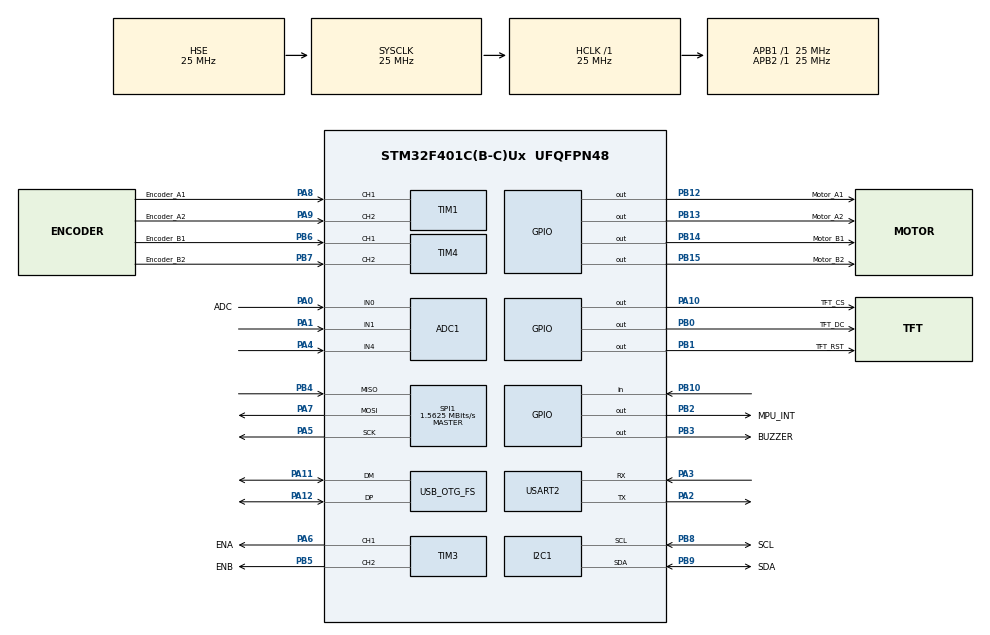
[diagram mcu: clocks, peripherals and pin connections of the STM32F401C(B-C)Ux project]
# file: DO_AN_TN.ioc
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ADC1.Channel-0\#ChannelRegularConversion=ADC_CHANNEL_0
ADC1.NbrOfConversionFlag=1
ADC1.Rank-0\#ChannelRegularConversion=1
ADC1.SamplingTime-0\#ChannelRegularConversion=ADC_SAMPLETIME_3CYCLES
ADC1.master=1
Mcu.Family=STM32F4
Mcu.Name=STM32F401C(B-C)Ux
Mcu.Package=UFQFPN48
NVIC.OTG_FS_IRQn=true\:0\:0\:false\:false\:true\:false\:true\:true
NVIC.PriorityGroup=NVIC_PRIORITYGROUP_4
NVIC.TIM4_IRQn=true\:0\:0\:false\:false\:true\:true\:true\:true
PA0-WKUP.GPIO_Label=ADC
PA0-WKUP.Signal=ADCx_IN0
PA1.Signal=ADCx_IN1
PA10.GPIO_Label=TFT_CS
PA10.Signal=GPIO_Output
PA11.Mode=Device_Only
PA11.Signal=USB_OTG_FS_DM
PA12.Mode=Device_Only
PA12.Signal=USB_OTG_FS_DP
PA13.Mode=Serial_Wire
PA13.Signal=SYS_JTMS-SWDIO
PA14.Mode=Serial_Wire
PA14.Signal=SYS_JTCK-SWCLK
PA2.Mode=Asynchronous
PA2.Signal=USART2_TX
PA3.Mode=Asynchronous
PA3.Signal=USART2_RX
PA4.Signal=ADCx_IN4
PA5.GPIO_PuPd=GPIO_PULLUP
PA5.Mode=Full_Duplex_Master
PA5.Signal=SPI1_SCK
PA6.GPIO_Label=ENA
PA6.Signal=S_TIM3_CH1
PA7.GPIO_PuPd=GPIO_PULLUP
PA7.Mode=Full_Duplex_Master
PA7.Signal=SPI1_MOSI
PA8.GPIO_Label=Encoder_A1
PA8.Signal=S_TIM1_CH1
PA9.GPIO_Label=Encoder_A2
PA9.Signal=S_TIM1_CH2
PB0.GPIO_Label=TFT_DC
PB0.Signal=GPIO_Output
PB1.GPIO_Label=TFT_RST
PB1.Signal=GPIO_Output
PB10.GPIO_PuPd=GPIO_NOPULL
PB10.Signal=GPIO_Input
PB12.GPIO_Label=Motor_A1
PB12.Signal=GPIO_Output
PB13.GPIO_Label=Motor_A2
PB13.Signal=GPIO_Output
PB14.GPIO_Label=Motor_B1
PB14.Signal=GPIO_Output
PB15.GPIO_Label=Motor_B2
PB15.Signal=GPIO_Output
PB2.GPIO_Label=MPU_INT
PB2.Signal=GPIO_Output
PB3.GPIO_Label=BUZZER
PB3.Signal=GPIO_Output
PB4.Mode=Full_Duplex_Master
PB4.Signal=SPI1_MISO
PB5.GPIO_Label=ENB
PB5.Signal=S_TIM3_CH2
PB6.GPIO_Label=Encoder_B1
PB6.GPIO_PuPd=GPIO_NOPULL
PB6.Signal=S_TIM4_CH1
PB7.GPIO_Label=Encoder_B2
PB7.GPIO_PuPd=GPIO_NOPULL
PB7.Signal=S_TIM4_CH2
PB8.GPIO_Label=SCL
PB8.GPIO_Pu=GPIO_PULLUP
PB8.Mode=I2C
PB8.Signal=I2C1_SCL
PB9.GPIO_Label=SDA
PB9.GPIO_Pu=GPIO_PULLUP
PB9.Mode=I2C
PB9.Signal=I2C1_SDA
PH0\ -\ OSC_IN.Mode=HSE-External-Oscillator
PH0\ -\ OSC_IN.Signal=RCC_OSC_IN
PH1\ -\ OSC_OUT.Mode=HSE-External-Oscillator
PH1\ -\ OSC_OUT.Signal=RCC_OSC_OUT
ProjectManager.HeapSize=0x200
ProjectManager.StackSize=0x400
ProjectManager.TargetToolchain=STM32CubeIDE
RCC.48MHZClocksFreq_Value=48000000
RCC.AHBFreq_Value=25000000
RCC.APB1Freq_Value=25000000
RCC.APB1TimFreq_Value=25000000
RCC.APB2Freq_Value=25000000
RCC.APB2TimFreq_Value=25000000
RCC.CortexFreq_Value=25000000
RCC.HCLKFreq_Value=25000000
RCC.HSE_VALUE=25000000
RCC.HSI_VALUE=16000000
RCC.LSE_VALUE=32768
RCC.PLLM=25
RCC.PLLN=336
RCC.PLLQ=7
RCC.SYSCLKFreq_VALUE=25000000
RCC.SYSCLKSource=RCC_SYSCLKSOURCE_HSE
RCC.VCOOutputFreq_Value=336000000
SH.ADCx_IN0.0=ADC1_IN0,IN0
SH.ADCx_IN1.0=ADC1_IN1,IN1
SH.ADCx_IN4.0=ADC1_IN4,IN4
SH.S_TIM1_CH1.0=TIM1_CH1,Encoder_Interface
SH.S_TIM1_CH2.0=TIM1_CH2,Encoder_Interface
SH.S_TIM3_CH1.0=TIM3_CH1,PWM Generation1 CH1
SH.S_TIM3_CH2.0=TIM3_CH2,PWM Generation2 CH2
SH.S_TIM4_CH1.0=TIM4_CH1,Encoder_Interface
SH.S_TIM4_CH2.0=TIM4_CH2,Encoder_Interface
SPI1.BaudRatePrescaler=SPI_BAUDRATEPRESCALER_16
SPI1.CLKPhase=SPI_PHASE_2EDGE
SPI1.CLKPolarity=SPI_POLARITY_HIGH
SPI1.CalculateBaudRate=1.5625 MBits/s
SPI1.Direction=SPI_DIRECTION_2LINES
SPI1.Mode=SPI_MODE_MASTER
SPI1.VirtualType=VM_MASTER
TIM3.Channel-PWM\ Generation1\ CH1=TIM_CHANNEL_1
TIM3.Channel-PWM\ Generation2\ CH2=TIM_CHANNEL_2
TIM4.IC1Filter=15
TIM4.IC2Filter=0
USART2.VirtualMode=VM_ASYNC
USB_DEVICE.CLASS_NAME_FS=CDC
USB_DEVICE.VirtualMode=Cdc
USB_DEVICE.VirtualModeFS=Cdc_FS
USB_OTG_FS.VirtualMode=Device_Only
VP_USB_DEVICE_VS_USB_DEVICE_CDC_FS.Mode=CDC_FS
board=custom

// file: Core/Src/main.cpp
/* USER CODE BEGIN Header */
/**
  ******************************************************************************
  * @file           : main.c
  * @brief          : Main program body
  ******************************************************************************
  * @attention
  *
  * Copyright (c) 2026 STMicroelectronics.
  * All rights reserved.
  *
  * This software is licensed under terms that can be found in the LICENSE file
  * in the root directory of this software component.
  * If no LICENSE file comes with this software, it is provided AS-IS.
  *
  ******************************************************************************
  */
/* USER CODE END Header */
#include "main.h"
#include "usb_device.h"

/* USER CODE BEGIN Includes */
#define PCA9685_MODE1 0x00
#define PCA9685_PRESCALE 0xFE
/* USER CODE END Includes */

ADC_HandleTypeDef hadc1;

I2C_HandleTypeDef hi2c1;

SPI_HandleTypeDef hspi1;

TIM_HandleTypeDef htim1;
TIM_HandleTypeDef htim3;
TIM_HandleTypeDef htim4;

UART_HandleTypeDef huart2;

/* USER CODE BEGIN PV */
uint8_t pca_addr = 0xAA;
HAL_StatusTypeDef test_status;
uint32_t encoder1_count = 0 ;
uint32_t encoder2_count = 0 ;
uint8_t btn_rst = 1;
uint8_t btn_conf = 1;
/* USER CODE END PV */

void SystemClock_Config(void);
static void MX_GPIO_Init(void);
static void MX_ADC1_Init(void);
static void MX_I2C1_Init(void);
static void MX_SPI1_Init(void);
static void MX_TIM1_Init(void);
static void MX_TIM3_Init(void);
static void MX_TIM4_Init(void);
static void MX_USART2_UART_Init(void);
/* USER CODE BEGIN PFP */
void TFT_WriteCommand(uint8_t cmd);
void TFT_WriteData(uint8_t data);
void PCA9685_Init_50Hz(void);
void PCA9685_SetServoAngle(uint8_t channel, uint16_t value);
/* USER CODE END PFP */

/* USER CODE BEGIN 0 */
void PCA9685_Init_50Hz(void) {
    uint8_t data;

    // 1. Reset chip hoàn toàn
    data = 0x80;
    HAL_I2C_Mem_Write(&hi2c1, 0x80, 0x00, 1, &data, 1, 100);
    HAL_Delay(50);

    // 2. Cho chip ngủ để cài Prescale
    data = 0x10;
    HAL_I2C_Mem_Write(&hi2c1, 0x80, 0x00, 1, &data, 1, 100);

    // 3. Cài 50Hz (Prescale = 121)
    data = 121;
    HAL_I2C_Mem_Write(&hi2c1, 0x80, 0xFE, 1, &data, 1, 100);

    // 4. Thức dậy và cho phép Restart
    data = 0xA1; // 0xA1 = 1010 0001 (Restart + Auto-Increment + AllCall)
    HAL_I2C_Mem_Write(&hi2c1, 0x80, 0x00, 1, &data, 1, 100);
    HAL_Delay(5);
}

void PCA9685_SetServoAngle(uint8_t channel, uint16_t value) {
    // channel: 0 đến 15
    // value: 102 (0 độ) đến 512 (180 độ)

    uint8_t buf[4];
    buf[0] = 0x00; // ON Low (Bật ở vạch 0)
    buf[1] = 0x00; // ON High
    buf[2] = value & 0xFF; // OFF Low (Tắt ở vạch 'value')
    buf[3] = value >> 8;   // OFF High

    // Ghi vào địa chỉ thanh ghi của chân tương ứng
    // Công thức: 0x06 (LED0) + 4 * số kênh
    HAL_I2C_Mem_Write(&hi2c1,(0x40 << 1), 0x06 + (4 * channel), 1, buf, 4, 100);
}
/* USER CODE END 0 */

int main(void)
{

  /* MCU Configuration--------------------------------------------------------*/

  /* Reset of all peripherals, Initializes the Flash interface and the Systick. */
  HAL_Init();

  /* Configure the system clock */
  SystemClock_Config();

  /* Initialize all configured peripherals */
  MX_GPIO_Init();
  MX_ADC1_Init();
  MX_I2C1_Init();
  MX_SPI1_Init();
  MX_TIM1_Init();
  MX_TIM3_Init();
  MX_TIM4_Init();
  MX_USB_DEVICE_Init();
  MX_USART2_UART_Init();
  /* USER CODE BEGIN 2 */
  // Start Encoders
    HAL_TIM_Encoder_Start(&htim1, TIM_CHANNEL_1);
    HAL_TIM_Encoder_Start(&htim1, TIM_CHANNEL_2);
    HAL_TIM_Encoder_Start(&htim4, TIM_CHANNEL_1);
    HAL_TIM_Encoder_Start(&htim4, TIM_CHANNEL_2);
    // Start PWM
    HAL_TIM_PWM_Start(&htim3, TIM_CHANNEL_1);
    HAL_TIM_PWM_Start(&htim3, TIM_CHANNEL_2);
    // Đọc địa chỉ I2C
//    for (uint16_t i = 0; i < 128; i++) {
//         test_status = HAL_I2C_IsDeviceReady(&hi2c1, (i << 1), 3, 10);
//         if (test_status == HAL_OK) {
//             pca_addr = i;
//         }
//     }

//    PCA9685_SetServoAngle(0, 512);
//    PCA9685_SetServoAngle(1, 512);
//    PCA9685_SetServoAngle(2, 512);
//    PCA9685_SetServoAngle(3, 512);
//    HAL_Delay(2000);
//    PCA9685_SetServoAngle(0, 307);
//    PCA9685_SetServoAngle(1, 307);
//    PCA9685_SetServoAngle(2, 307);
//    PCA9685_SetServoAngle(3, 307);
//    HAL_Delay(2000);
//    PCA9685_SetServoAngle(0, 102);
//    PCA9685_SetServoAngle(1, 102);
//    PCA9685_SetServoAngle(2, 102);
//    PCA9685_SetServoAngle(3, 102);
   // Đọc encoder
    encoder1_count = (uint32_t)__HAL_TIM_GET_COUNTER(&htim1);
    encoder2_count = __HAL_TIM_GET_COUNTER(&htim4);

     //2. Thiết lập hướng quay TIẾN cho cả 2 động cơ
     //Động cơ A (PB12, PB13)
//    HAL_GPIO_WritePin(GPIOB, GPIO_PIN_12, GPIO_PIN_SET);
//    HAL_GPIO_WritePin(GPIOB, GPIO_PIN_13, GPIO_PIN_RESET);
    // Động cơ B (PB14, PB15)
//    HAL_GPIO_WritePin(GPIOB, GPIO_PIN_14, GPIO_PIN_SET);
//    HAL_GPIO_WritePin(GPIOB, GPIO_PIN_15, GPIO_PIN_RESET);

    // 3. Vòng lặp tăng tốc dần từ 0% đến 100% (mỗi bước 10%)
//    for (int i = 0; i <= 10; i++) {
//        uint32_t duty_value = (i * 65535) / 10; // Tính toán giá trị PWM

//        __HAL_TIM_SET_COMPARE(&htim3, TIM_CHANNEL_1, 65535);
        //__HAL_TIM_SET_COMPARE(&htim3, TIM_CHANNEL_2, 65535);
//
//        //HAL_Delay(1000); // Đợi 1 giây ở mỗi mức tốc độ
//    //}
//
    // 4. Giữ tốc độ tối đa trong 2 giây
//    HAL_Delay(5000);
//
//    // 5. DỪNG HẲN CẢ 2 ĐỘNG CƠ
//    __HAL_TIM_SET_COMPARE(&htim3, TIM_CHANNEL_1, 0);
//    __HAL_TIM_SET_COMPARE(&htim3, TIM_CHANNEL_2, 0);
//
//    // Đưa tất cả chân hướng về 0 (Thả trôi bánh xe)
//    HAL_GPIO_WritePin(GPIOB, GPIO_PIN_12 | GPIO_PIN_13 | GPIO_PIN_14 | GPIO_PIN_15, GPIO_PIN_RESET);
//
//    // Tắt PWM để tiết kiệm năng lượng
//    HAL_TIM_PWM_Stop(&htim3, TIM_CHANNEL_1);
//    HAL_TIM_PWM_Stop(&htim3, TIM_CHANNEL_2);

    // Test màn hình
    /* USER CODE BEGIN 2 */
    HAL_Delay(500);

        // Đảm bảo các chân ở trạng thái nghỉ
        HAL_GPIO_WritePin(GPIOA, GPIO_PIN_10, 1); // CS = 1 (Tạm ngắt)
        HAL_GPIO_WritePin(GPIOB, GPIO_PIN_1, 1);  // RES = 1
        HAL_Delay(100);

        // Bắt đầu quy trình Reset cứng
        HAL_GPIO_WritePin(GPIOB, GPIO_PIN_1, 0); // RES = 0 (Bắt đầu Reset)
        HAL_Delay(200);                          // Giữ 200ms cho chắc
        HAL_GPIO_WritePin(GPIOB, GPIO_PIN_1, 1); // RES = 1 (Thả Reset)
        HAL_Delay(200);                          // Đợi chip màn hình ổn định

        HAL_GPIO_WritePin(GPIOA, GPIO_PIN_10, 0); // Bây giờ mới CS = 0 để làm việc

        // Gửi lệnh Software Reset để "làm sạch" nội bộ màn hình
        TFT_WriteCommand(0x01);
        HAL_Delay(150);

    TFT_WriteCommand(0x11); // Exit Sleep
    HAL_Delay(200);

    // Thiết lập chế độ màu 16-bit (5-6-5)
    TFT_WriteCommand(0x3A);
    TFT_WriteData(0x05);

    // Cấu hình hướng quét (Quan trọng để không bị sọc)
    TFT_WriteCommand(0x36);
    TFT_WriteData(0xC0);

    // Bật màn hình
    TFT_WriteCommand(0x29);
    HAL_Delay(100);

    // 3. XÓA NHIỄU - Đổ màu đỏ toàn màn hình
    TFT_WriteCommand(0x2A); // Column addr
    TFT_WriteData(0x00); TFT_WriteData(0x00);
    TFT_WriteData(0x00); TFT_WriteData(0x9F); // 127

    TFT_WriteCommand(0x2B); // Row addr
    TFT_WriteData(0x00); TFT_WriteData(0x00);
    TFT_WriteData(0x00); TFT_WriteData(0x9F); // 159

    TFT_WriteCommand(0x2C);

        // Nửa trên: Xanh lá
        for (int i = 0; i < 10240; i++) { // 10240 là một nửa của 20480
            TFT_WriteData(0x07);
            TFT_WriteData(0xE0);
        }

        // Nửa dưới: Đỏ
        for (int i = 0; i < 10240; i++) {
            TFT_WriteData(0xF8);
            TFT_WriteData(0x00);
        }
  /* USER CODE END 2 */

  /* Infinite loop */
  while (1)
  {

    /* USER CODE BEGIN 3 */
//	  char *usb_msg = "STM32 USB OK!\r\n";
//	  CDC_Transmit_FS((uint8_t*)usb_msg, strlen(usb_msg)); // Giao tiếp USB
	  btn_rst = HAL_GPIO_ReadPin(GPIOA, GPIO_PIN_3);
	  btn_conf = HAL_GPIO_ReadPin(GPIOB, GPIO_PIN_10);

  }
  /* USER CODE END 3 */
}

void SystemClock_Config(void)
{
  RCC_OscInitTypeDef RCC_OscInitStruct = {0};
  RCC_ClkInitTypeDef RCC_ClkInitStruct = {0};

  /** Configure the main internal regulator output voltage
  */
  __HAL_RCC_PWR_CLK_ENABLE();
  __HAL_PWR_VOLTAGESCALING_CONFIG(PWR_REGULATOR_VOLTAGE_SCALE2);

  /** Initializes the RCC Oscillators according to the specified parameters
  * in the RCC_OscInitTypeDef structure.
  */
  RCC_OscInitStruct.OscillatorType = RCC_OSCILLATORTYPE_HSE;
  RCC_OscInitStruct.HSEState = RCC_HSE_ON;
  RCC_OscInitStruct.PLL.PLLState = RCC_PLL_ON;
  RCC_OscInitStruct.PLL.PLLSource = RCC_PLLSOURCE_HSE;
  RCC_OscInitStruct.PLL.PLLM = 25;
  RCC_OscInitStruct.PLL.PLLN = 336;
  RCC_OscInitStruct.PLL.PLLP = RCC_PLLP_DIV2;
  RCC_OscInitStruct.PLL.PLLQ = 7;
  if (HAL_RCC_OscConfig(&RCC_OscInitStruct) != HAL_OK)
  {
    Error_Handler();
  }

  /** Initializes the CPU, AHB and APB buses clocks
  */
  RCC_ClkInitStruct.ClockType = RCC_CLOCKTYPE_HCLK|RCC_CLOCKTYPE_SYSCLK
                              |RCC_CLOCKTYPE_PCLK1|RCC_CLOCKTYPE_PCLK2;
  RCC_ClkInitStruct.SYSCLKSource = RCC_SYSCLKSOURCE_HSE;
  RCC_ClkInitStruct.AHBCLKDivider = RCC_SYSCLK_DIV1;
  RCC_ClkInitStruct.APB1CLKDivider = RCC_HCLK_DIV1;
  RCC_ClkInitStruct.APB2CLKDivider = RCC_HCLK_DIV1;

  if (HAL_RCC_ClockConfig(&RCC_ClkInitStruct, FLASH_LATENCY_0) != HAL_OK)
  {
    Error_Handler();
  }
}

static void MX_ADC1_Init(void)
{

  ADC_ChannelConfTypeDef sConfig = {0};

  /** Configure the global features of the ADC (Clock, Resolution, Data Alignment and number of conversion)
  */
  hadc1.Instance = ADC1;
  hadc1.Init.ClockPrescaler = ADC_CLOCK_SYNC_PCLK_DIV2;
  hadc1.Init.Resolution = ADC_RESOLUTION_12B;
  hadc1.Init.ScanConvMode = DISABLE;
  hadc1.Init.ContinuousConvMode = DISABLE;
  hadc1.Init.DiscontinuousConvMode = DISABLE;
  hadc1.Init.ExternalTrigConvEdge = ADC_EXTERNALTRIGCONVEDGE_NONE;
  hadc1.Init.ExternalTrigConv = ADC_SOFTWARE_START;
  hadc1.Init.DataAlign = ADC_DATAALIGN_RIGHT;
  hadc1.Init.NbrOfConversion = 1;
  hadc1.Init.DMAContinuousRequests = DISABLE;
  hadc1.Init.EOCSelection = ADC_EOC_SINGLE_CONV;
  if (HAL_ADC_Init(&hadc1) != HAL_OK)
  {
    Error_Handler();
  }

  /** Configure for the selected ADC regular channel its corresponding rank in the sequencer and its sample time.
  */
  sConfig.Channel = ADC_CHANNEL_0;
  sConfig.Rank = 1;
  sConfig.SamplingTime = ADC_SAMPLETIME_3CYCLES;
  if (HAL_ADC_ConfigChannel(&hadc1, &sConfig) != HAL_OK)
  {
    Error_Handler();
  }

}

static void MX_I2C1_Init(void)
{

  hi2c1.Instance = I2C1;
  hi2c1.Init.ClockSpeed = 100000;
  hi2c1.Init.DutyCycle = I2C_DUTYCYCLE_2;
  hi2c1.Init.OwnAddress1 = 0;
  hi2c1.Init.AddressingMode = I2C_ADDRESSINGMODE_7BIT;
  hi2c1.Init.DualAddressMode = I2C_DUALADDRESS_DISABLE;
  hi2c1.Init.OwnAddress2 = 0;
  hi2c1.Init.GeneralCallMode = I2C_GENERALCALL_DISABLE;
  hi2c1.Init.NoStretchMode = I2C_NOSTRETCH_DISABLE;
  if (HAL_I2C_Init(&hi2c1) != HAL_OK)
  {
    Error_Handler();
  }

}

static void MX_SPI1_Init(void)
{

  /* SPI1 parameter configuration*/
  hspi1.Instance = SPI1;
  hspi1.Init.Mode = SPI_MODE_MASTER;
  hspi1.Init.Direction = SPI_DIRECTION_2LINES;
  hspi1.Init.DataSize = SPI_DATASIZE_8BIT;
  hspi1.Init.CLKPolarity = SPI_POLARITY_HIGH;
  hspi1.Init.CLKPhase = SPI_PHASE_2EDGE;
  hspi1.Init.NSS = SPI_NSS_SOFT;
  hspi1.Init.BaudRatePrescaler = SPI_BAUDRATEPRESCALER_16;
  hspi1.Init.FirstBit = SPI_FIRSTBIT_MSB;
  hspi1.Init.TIMode = SPI_TIMODE_DISABLE;
  hspi1.Init.CRCCalculation = SPI_CRCCALCULATION_DISABLE;
  hspi1.Init.CRCPolynomial = 10;
  if (HAL_SPI_Init(&hspi1) != HAL_OK)
  {
    Error_Handler();
  }

}

static void MX_TIM1_Init(void)
{

  TIM_Encoder_InitTypeDef sConfig = {0};
  TIM_MasterConfigTypeDef sMasterConfig = {0};

  htim1.Instance = TIM1;
  htim1.Init.Prescaler = 0;
  htim1.Init.CounterMode = TIM_COUNTERMODE_UP;
  htim1.Init.Period = 65535;
  htim1.Init.ClockDivision = TIM_CLOCKDIVISION_DIV1;
  htim1.Init.RepetitionCounter = 0;
  htim1.Init.AutoReloadPreload = TIM_AUTORELOAD_PRELOAD_DISABLE;
  sConfig.EncoderMode = TIM_ENCODERMODE_TI1;
  sConfig.IC1Polarity = TIM_ICPOLARITY_RISING;
  sConfig.IC1Selection = TIM_ICSELECTION_DIRECTTI;
  sConfig.IC1Prescaler = TIM_ICPSC_DIV1;
  sConfig.IC1Filter = 0;
  sConfig.IC2Polarity = TIM_ICPOLARITY_RISING;
  sConfig.IC2Selection = TIM_ICSELECTION_DIRECTTI;
  sConfig.IC2Prescaler = TIM_ICPSC_DIV1;
  sConfig.IC2Filter = 0;
  if (HAL_TIM_Encoder_Init(&htim1, &sConfig) != HAL_OK)
  {
    Error_Handler();
  }
  sMasterConfig.MasterOutputTrigger = TIM_TRGO_RESET;
  sMasterConfig.MasterSlaveMode = TIM_MASTERSLAVEMODE_DISABLE;
  if (HAL_TIMEx_MasterConfigSynchronization(&htim1, &sMasterConfig) != HAL_OK)
  {
    Error_Handler();
  }

}

static void MX_TIM3_Init(void)
{

  TIM_MasterConfigTypeDef sMasterConfig = {0};
  TIM_OC_InitTypeDef sConfigOC = {0};

  htim3.Instance = TIM3;
  htim3.Init.Prescaler = 0;
  htim3.Init.CounterMode = TIM_COUNTERMODE_UP;
  htim3.Init.Period = 65535;
  htim3.Init.ClockDivision = TIM_CLOCKDIVISION_DIV1;
  htim3.Init.AutoReloadPreload = TIM_AUTORELOAD_PRELOAD_DISABLE;
  if (HAL_TIM_PWM_Init(&htim3) != HAL_OK)
  {
    Error_Handler();
  }
  sMasterConfig.MasterOutputTrigger = TIM_TRGO_RESET;
  sMasterConfig.MasterSlaveMode = TIM_MASTERSLAVEMODE_DISABLE;
  if (HAL_TIMEx_MasterConfigSynchronization(&htim3, &sMasterConfig) != HAL_OK)
  {
    Error_Handler();
  }
  sConfigOC.OCMode = TIM_OCMODE_PWM1;
  sConfigOC.Pulse = 0;
  sConfigOC.OCPolarity = TIM_OCPOLARITY_HIGH;
  sConfigOC.OCFastMode = TIM_OCFAST_DISABLE;
  if (HAL_TIM_PWM_ConfigChannel(&htim3, &sConfigOC, TIM_CHANNEL_1) != HAL_OK)
  {
    Error_Handler();
  }
  if (HAL_TIM_PWM_ConfigChannel(&htim3, &sConfigOC, TIM_CHANNEL_2) != HAL_OK)
  {
    Error_Handler();
  }
  HAL_TIM_MspPostInit(&htim3);

}

static void MX_TIM4_Init(void)
{

  TIM_Encoder_InitTypeDef sConfig = {0};
  TIM_MasterConfigTypeDef sMasterConfig = {0};

  htim4.Instance = TIM4;
  htim4.Init.Prescaler = 0;
  htim4.Init.CounterMode = TIM_COUNTERMODE_UP;
  htim4.Init.Period = 65535;
  htim4.Init.ClockDivision = TIM_CLOCKDIVISION_DIV1;
  htim4.Init.AutoReloadPreload = TIM_AUTORELOAD_PRELOAD_DISABLE;
  sConfig.EncoderMode = TIM_ENCODERMODE_TI1;
  sConfig.IC1Polarity = TIM_ICPOLARITY_RISING;
  sConfig.IC1Selection = TIM_ICSELECTION_DIRECTTI;
  sConfig.IC1Prescaler = TIM_ICPSC_DIV1;
  sConfig.IC1Filter = 15;
  sConfig.IC2Polarity = TIM_ICPOLARITY_RISING;
  sConfig.IC2Selection = TIM_ICSELECTION_DIRECTTI;
  sConfig.IC2Prescaler = TIM_ICPSC_DIV1;
  sConfig.IC2Filter = 0;
  if (HAL_TIM_Encoder_Init(&htim4, &sConfig) != HAL_OK)
  {
    Error_Handler();
  }
  sMasterConfig.MasterOutputTrigger = TIM_TRGO_RESET;
  sMasterConfig.MasterSlaveMode = TIM_MASTERSLAVEMODE_DISABLE;
  if (HAL_TIMEx_MasterConfigSynchronization(&htim4, &sMasterConfig) != HAL_OK)
  {
    Error_Handler();
  }

}

static void MX_USART2_UART_Init(void)
{

  huart2.Instance = USART2;
  huart2.Init.BaudRate = 115200;
  huart2.Init.WordLength = UART_WORDLENGTH_8B;
  huart2.Init.StopBits = UART_STOPBITS_1;
  huart2.Init.Parity = UART_PARITY_NONE;
  huart2.Init.Mode = UART_MODE_TX_RX;
  huart2.Init.HwFlowCtl = UART_HWCONTROL_NONE;
  huart2.Init.OverSampling = UART_OVERSAMPLING_16;
  if (HAL_UART_Init(&huart2) != HAL_OK)
  {
    Error_Handler();
  }

}

static void MX_GPIO_Init(void)
{
  GPIO_InitTypeDef GPIO_InitStruct = {0};

  /* GPIO Ports Clock Enable */
  __HAL_RCC_GPIOH_CLK_ENABLE();
  __HAL_RCC_GPIOA_CLK_ENABLE();
  __HAL_RCC_GPIOB_CLK_ENABLE();

  /*Configure GPIO pin Output Level */
  HAL_GPIO_WritePin(GPIOB, TFT_DC_Pin|TFT_RST_Pin|MPU_INT_Pin|Motor_A1_Pin
                          |Motor_A2_Pin|Motor_B1_Pin|Motor_B2_Pin|BUZZER_Pin, GPIO_PIN_RESET);

  /*Configure GPIO pin Output Level */
  HAL_GPIO_WritePin(TFT_CS_GPIO_Port, TFT_CS_Pin, GPIO_PIN_RESET);

  /*Configure GPIO pins : TFT_DC_Pin TFT_RST_Pin MPU_INT_Pin Motor_A1_Pin
                           Motor_A2_Pin Motor_B1_Pin Motor_B2_Pin BUZZER_Pin */
  GPIO_InitStruct.Pin = TFT_DC_Pin|TFT_RST_Pin|MPU_INT_Pin|Motor_A1_Pin
                          |Motor_A2_Pin|Motor_B1_Pin|Motor_B2_Pin|BUZZER_Pin;
  GPIO_InitStruct.Mode = GPIO_MODE_OUTPUT_PP;
  GPIO_InitStruct.Pull = GPIO_NOPULL;
  GPIO_InitStruct.Speed = GPIO_SPEED_FREQ_LOW;
  HAL_GPIO_Init(GPIOB, &GPIO_InitStruct);

  /*Configure GPIO pin : PB10 */
  GPIO_InitStruct.Pin = GPIO_PIN_10;
  GPIO_InitStruct.Mode = GPIO_MODE_INPUT;
  GPIO_InitStruct.Pull = GPIO_NOPULL;
  HAL_GPIO_Init(GPIOB, &GPIO_InitStruct);

  /*Configure GPIO pin : TFT_CS_Pin */
  GPIO_InitStruct.Pin = TFT_CS_Pin;
  GPIO_InitStruct.Mode = GPIO_MODE_OUTPUT_PP;
  GPIO_InitStruct.Pull = GPIO_NOPULL;
  GPIO_InitStruct.Speed = GPIO_SPEED_FREQ_LOW;
  HAL_GPIO_Init(TFT_CS_GPIO_Port, &GPIO_InitStruct);

}

/* USER CODE BEGIN 4 */
void TFT_WriteCommand(uint8_t cmd) {
       HAL_GPIO_WritePin(GPIOB, GPIO_PIN_0, 0); // DC = 0 (Chế độ gửi lệnh)
       HAL_GPIO_WritePin(GPIOA, GPIO_PIN_4, 0); // CS = 0 (Chọn màn hình)
       HAL_SPI_Transmit(&hspi1, &cmd, 1, 10);   // Bắn dữ liệu qua SPI
       HAL_GPIO_WritePin(GPIOA, GPIO_PIN_4, 1); // CS = 1 (Ngắt chọn)
   }

   // Hàm gửi dữ liệu (Data) qua SPI
   void TFT_WriteData(uint8_t data) {
       HAL_GPIO_WritePin(GPIOB, GPIO_PIN_0, 1); // DC = 1 (Chế độ gửi dữ liệu)
       HAL_GPIO_WritePin(GPIOA, GPIO_PIN_4, 0); // CS = 0
       HAL_SPI_Transmit(&hspi1, &data, 1, 10);
       HAL_GPIO_WritePin(GPIOA, GPIO_PIN_4, 1); // CS = 1
   }
/* USER CODE END 4 */

void Error_Handler(void)
{
  __disable_irq();
  while (1)
  {
  }
}
